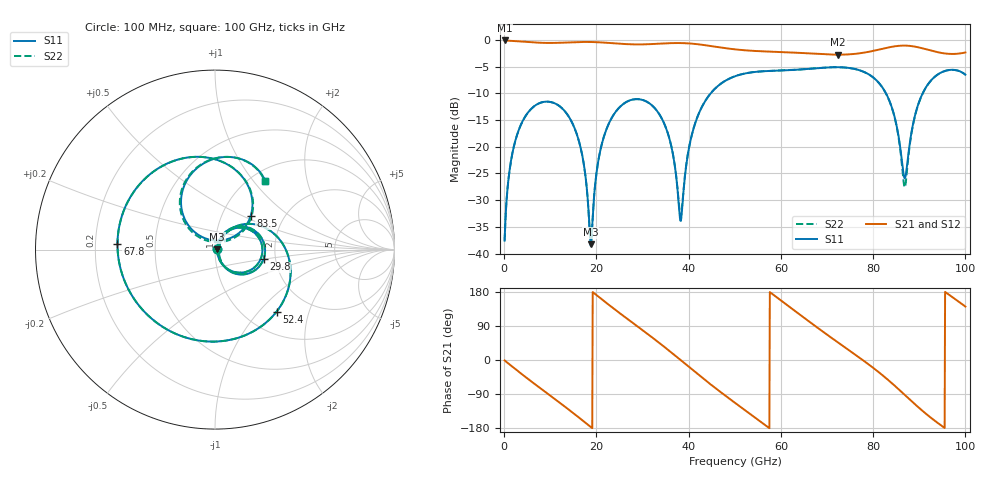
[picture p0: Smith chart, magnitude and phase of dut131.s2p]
! Touchstone file exported from HFSS 2026.1.0
!  File:  C:/ffzhzh/LocalFiles/Ansys_Project_Files/temp_train_TSV_RDL_131_1783639592_29156.aedt
!  Generated:  07:33:55 AM Jul 10, 2026
!  Design:  TSV_RDL
!  Project:  temp_train_TSV_RDL_131_1783639592_29156
! Variables:
!  h_bsmrdl = 3.51um
!  h_ox = 20um
!  h_rdl = 5um
!  h_sub = 89.06um
!  h_tmrdl = 2.67um
!  h_tsv = 89.06um
!  h_via = 3um
!  l_bsmrdl = 520.8um
!  l_sub = 2986.92um
!  l_tmrdl = 214.61um
!  m_sub = 200um
!  pitch = 41.58um
!  r_tsv = 11.42um
!  s_tmrdl = 10um
!  w_bsmrdl = 25.44um
!  w_sub = 500um
!  w_tmrdl = 29.92um
!  x_tsv_center1 = 229.57um
!  x_tsv_center2 = 775.81um
!  x_tsv_center3 = 1020.34um
!  x_tsv_center4 = 1566.58um
!  x_tsv_center5 = 1811.11um
!  x_tsv_center6 = 2357.35um
# GHz S MA R 50.000000
! Terminal data exported
! Port[1] = TM_RDL1_1_T1
! Port[2] = TM_RDL5_1_T1
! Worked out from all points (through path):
!   1000 points, 100 MHz to 100 GHz, reference 50 ohm
!   highest |S21| = -0.10 dB at 100 MHz (marker M1); lowest = -2.8 dB at 72.4 GHz (marker M2)
!   group delay of S21, straight-line fit = 26 ps
!   lowest |S11| = -38.2 dB at 18.8 GHz (marker M3), VSWR 1.02, Z = 51.2 + j0.0602 ohm
!   |S11| at or under -10 dB: start of sweep to 44.78 GHz; 82.78 GHz to 90.74 GHz (7.96 GHz wide, 9.18 % of centre)
!   |S22| runs from -38.6 to -5.1 dB; largest |S21 - S12| = 4.2e-14
!   S11 on the Smith chart (normalised r, x): 100 MHz: 1.02, +0.01; 29.8 GHz: 1.73, -0.20; 52.4 GHz: 1.39, -1.25; 67.8 GHz: 0.30, +0.03; 83.5 GHz: 1.37, +0.55; 100 GHz: 1.17, +1.15
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0.1  0.01322 27.0  0.9883 -1.1  0.9883 -1.1  0.01322 27.0
! Gamma 0 0 0 0
! Port Impedance 50 0 50 0
2.1  0.1004 58.8  0.9766 -20.7  0.9766 -20.7  0.1004 58.8
6  0.2292 27.1  0.9497 -57.6  0.9497 -57.6  0.2292 27.1
11.4  0.2497 -19.6  0.9384 -106.8  0.9384 -106.8  0.2497 -19.6
16.8  0.08869 -63.8  0.9563 -157.5  0.9563 -157.5  0.0886 -64.0
18.8  0.01226 2.7  0.9562 -176.9  0.9562 -176.9  0.01174 3.2
22.3  0.1503 52.3  0.9397 149.4  0.9397 149.4  0.1503 52.6
29.8  0.2759 -11.2  0.9078 80.5  0.9078 80.5  0.2758 -10.9
33.4  0.209 -41.7  0.9207 47.3  0.9207 47.3  0.209 -41.1
38.3  0.02021 2.4  0.9344 -0.6  0.9344 -0.6  0.0223 2.8
42.1  0.1995 44.0  0.9096 -38.5  0.9096 -38.5  0.2001 43.6
50.1  0.4577 -25.4  0.8155 -113.5  0.8155 -113.5  0.4581 -25.3
52.4  0.4868 -45.2  0.7984 -134.1  0.7984 -134.1  0.4872 -45.1
59.1  0.5154 -104.1  0.7727 165.5  0.7727 165.5  0.5156 -103.8
66.7  0.5393 -173.3  0.7444 96.3  0.7444 96.3  0.5391 -173.0
67.8  0.5442 176.9  0.7397 86.4  0.7397 86.4  0.544 177.1
72.4  0.5557 136.6  0.7277 46.0  0.7277 46.0  0.5552 136.7
83.4  0.2776 43.9  0.8516 -54.2  0.8516 -54.2  0.2763 42.5
83.5  0.2711 43.1  0.8533 -55.3  0.8533 -55.3  0.2698 41.7
86.9  0.05087 91.0  0.8848 -92.6  0.8848 -92.6  0.04178 92.1
91.3  0.3513 122.2  0.8212 -140.3  0.8212 -140.3  0.3501 123.7
100  0.4727 53.6  0.763 140.9  0.763 140.9  0.4725 54.3
